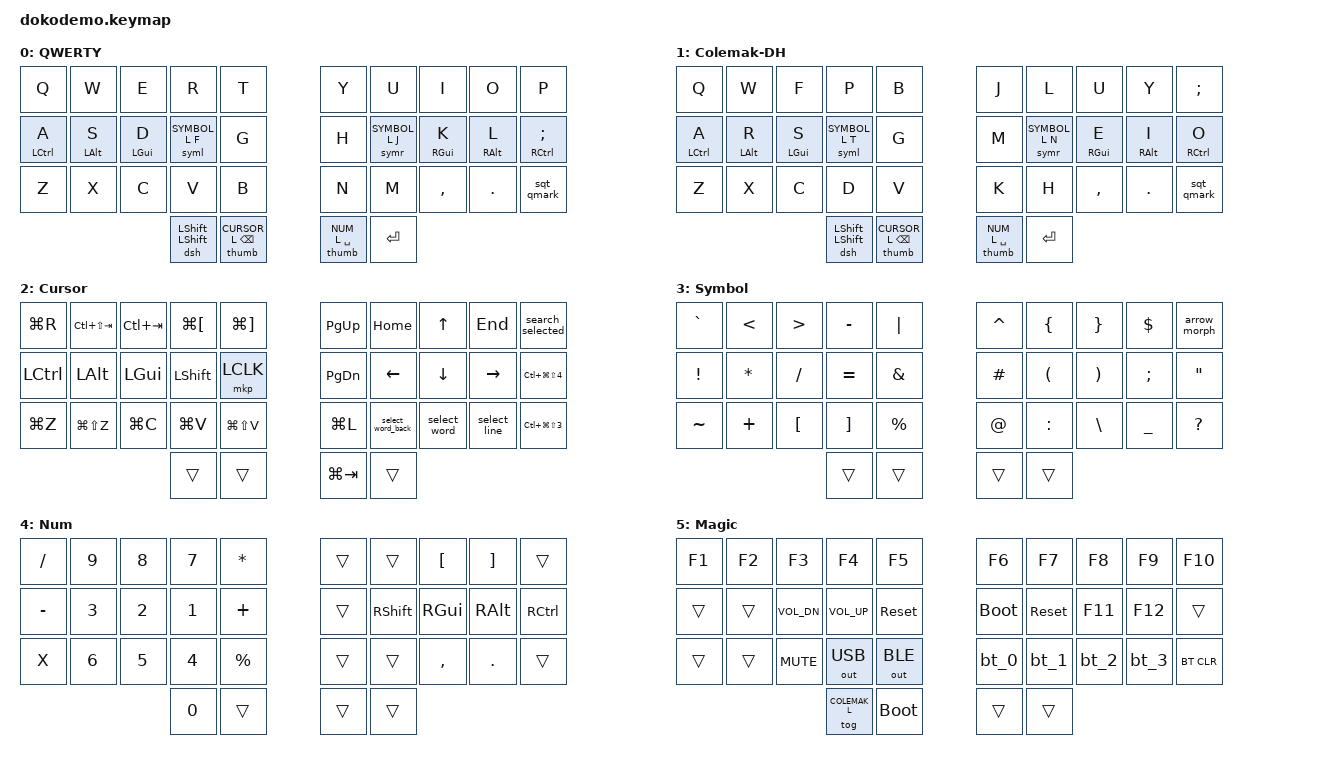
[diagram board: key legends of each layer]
// Copyright (c) 2022 The ZMK Contributors
// SPDX-License-Identifier: MIT

#include <behaviors.dtsi>
#include <dt-bindings/zmk/bt.h>
#include <dt-bindings/zmk/keys.h>
#include <dt-bindings/zmk/outputs.h>
#include <dt-bindings/zmk/pointing.h>
#include "includes/behaviors.dtsi"

#define QWERTY_L 0
#define COLEMAK_L 1
#define CURSOR_L 2
#define SYMBOL_L 3
#define NUM_L 4
#define MAGIC_L 5

/ {
    keymap {
        compatible = "zmk,keymap";

        qwerty_layer {
            display-name = "QWERTY";
            bindings = <
        //╭────────────┬────────────┬────────────┬────────────┬────────────╮   ╭────────────┬────────────┬────────────┬────────────┬────────────╮
            &kp Q        &kp W        &kp E        &kp R        &kp T            &kp Y        &kp U        &kp I        &kp O        &kp P
        //├────────────┼────────────┼────────────┼────────────┼────────────┤   ├────────────┼────────────┼────────────┼────────────┼────────────┤
            &hml LCTRL A &hml LALT S  &hml LGUI D  &syml SYMBOL_L F &kp G        &kp H        &symr SYMBOL_L J &hmr RGUI K &hmr RALT L &hmr RCTRL SEMI
        //├────────────┼────────────┼────────────┼────────────┼────────────┤   ├────────────┼────────────┼────────────┼────────────┼────────────┤
            &kp Z        &kp X        &kp C        &kp V        &kp B            &kp N        &kp M        &kp COMMA    &kp DOT      &sqt_qmark
        //╰────────────┴────────────┴────────────┼────────────┼────────────┤   ├────────────┼────────────┴────────────┴────────────┴────────────╯
                                               &dsh LSHFT LSHFT &thumb CURSOR_L BSPC      &thumb NUM_L SPACE &kp RET
        //                                     ╰────────────┴────────────╯   ╰────────────┴────────────╯
            >;
        };

        colemak_layer {
            display-name = "Colemak-DH";
            bindings = <
            &kp Q        &kp W        &kp F        &kp P        &kp B            &kp J        &kp L        &kp U        &kp Y        &kp SEMI
            &hml LCTRL A &hml LALT R  &hml LGUI S  &syml SYMBOL_L T &kp G        &kp M        &symr SYMBOL_L N &hmr RGUI E &hmr RALT I &hmr RCTRL O
            &kp Z        &kp X        &kp C        &kp D        &kp V            &kp K        &kp H        &kp COMMA    &kp DOT      &sqt_qmark
                                               &dsh LSHFT LSHFT &thumb CURSOR_L BSPC      &thumb NUM_L SPACE &kp RET
            >;
        };

        cursor_layer {
            display-name = "Cursor";
            bindings = <
            &kp LG(R)    &kp LC(LS(TAB)) &kp LC(TAB) &kp LG(LBKT) &kp LG(RBKT)   &kp PG_UP    &kp HOME     &kp UP       &kp END      &search_selected
            &kp LCTRL    &kp LALT     &kp LGUI     &kp LSHFT    &mkp LCLK         &kp PG_DN    &kp LEFT     &kp DOWN     &kp RIGHT    &kp LC(LG(LS(N4)))
            &kp LG(Z)    &kp LG(LS(Z)) &kp LG(C)   &kp LG(V)    &kp LG(LS(V))     &kp LG(L)    &select_word_back &select_word &select_line &kp LC(LG(LS(N3)))
                                               &trans       &trans                 &kp LG(TAB)  &trans
            >;
        };

        symbol_layer {
            display-name = "Symbol";
            bindings = <
            &kp GRAVE    &kp LT       &kp GT       &kp MINUS    &kp PIPE          &kp CARET    &kp LBRC     &kp RBRC     &kp DLLR     &arrow_morph
            &kp EXCL     &kp STAR     &kp FSLH     &kp EQUAL    &kp AMPS          &kp HASH     &kp LPAR     &kp RPAR     &kp SEMI     &kp DQT
            &kp TILDE    &kp PLUS     &kp LBKT     &kp RBKT     &kp PRCNT         &kp AT       &kp COLON    &kp BSLH     &kp UNDER    &kp QMARK
                                               &trans       &trans                 &trans       &trans
            >;
        };

        num_layer {
            display-name = "Num";
            bindings = <
            &kp FSLH     &kp N9       &kp N8       &kp N7       &kp STAR          &trans       &trans       &kp LBKT     &kp RBKT     &trans
            &kp MINUS    &kp N3       &kp N2       &kp N1       &kp PLUS          &trans       &kp RSHIFT   &kp RGUI     &kp RALT     &kp RCTRL
            &kp X        &kp N6       &kp N5       &kp N4       &kp PRCNT         &trans       &trans       &kp COMMA    &kp DOT      &trans
                                               &kp N0       &trans                 &trans       &trans
            >;
        };

        magic_layer {
            display-name = "Magic";
            bindings = <
            &kp F1       &kp F2       &kp F3       &kp F4       &kp F5            &kp F6       &kp F7       &kp F8       &kp F9       &kp F10
            &trans       &trans       &kp C_VOL_DN &kp C_VOL_UP &sys_reset        &bootloader  &sys_reset   &kp F11      &kp F12      &trans
            &trans       &trans       &kp C_MUTE   &out OUT_USB &out OUT_BLE      &bt_0        &bt_1        &bt_2        &bt_3        &bt BT_CLR
                                               &tog COLEMAK_L &bootloader           &trans       &trans
            >;
        };
    };

    combos {
        compatible = "zmk,combos";

        //     0  1  2  3  4     5  6  7  8  9
        //     10 11 12 13 14    15 16 17 18 19
        //     20 21 22 23 24    25 26 27 28 29
        //              30 31    32 33
        combo_tab {
            timeout-ms = <35>;
            require-prior-idle-ms = <100>;
            key-positions = <26 27>;
            bindings = <&kp TAB>;
            layers = <QWERTY_L COLEMAK_L>;
        };

        combo_escape {
            timeout-ms = <25>;
            require-prior-idle-ms = <100>;
            key-positions = <22 23>;
            bindings = <&esch LC(LALT) ESC>;
            layers = <QWERTY_L COLEMAK_L>;
        };

        combo_magic {
            timeout-ms = <35>;
            require-prior-idle-ms = <100>;
            key-positions = <20 21>;
            bindings = <&mo MAGIC_L>;
            layers = <QWERTY_L COLEMAK_L>;
        };

        combo_caps_word {
            timeout-ms = <25>;
            require-prior-idle-ms = <100>;
            key-positions = <27 28>;
            bindings = <&caps_word>;
            layers = <QWERTY_L COLEMAK_L>;
        };
    };
};
